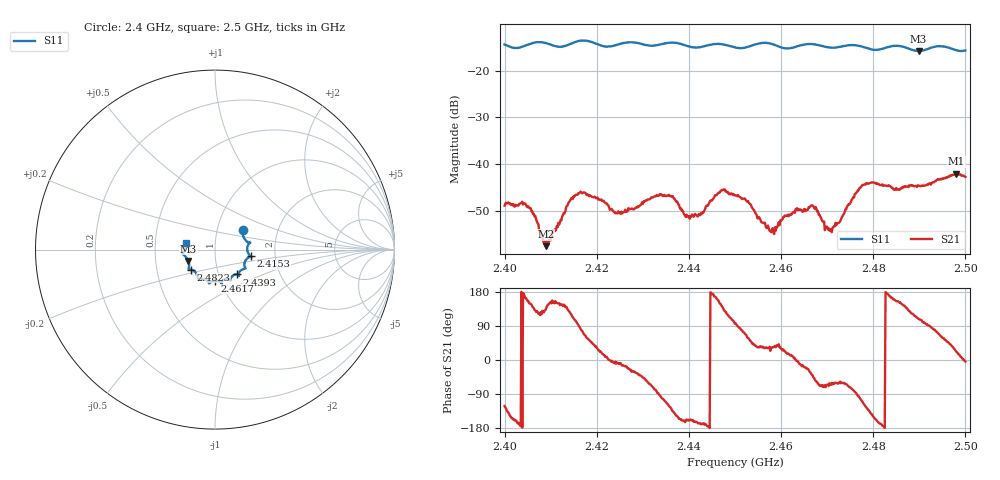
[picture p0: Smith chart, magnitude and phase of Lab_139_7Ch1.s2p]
# Hz S RI R 50
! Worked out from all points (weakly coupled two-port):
!   601 points, 2.4 GHz to 2.5 GHz, reference 50 ohm
!   highest |S21| = -41.98 dB at 2.498 GHz (marker M1); lowest = -57.5 dB at 2.409 GHz (marker M2)
!   lowest |S11| = -15.8 dB at 2.4898 GHz (marker M3), VSWR 1.39, Z = 36.8 - j4.77 ohm
!   |S11| at or under -10 dB: start of sweep to end of sweep
!   S12 and S22 are empty: the file has one direction only
!   S11 on the Smith chart (normalised r, x): 2.4 GHz: 1.33, +0.30; 2.4153 GHz: 1.49, -0.12; 2.4393 GHz: 1.22, -0.35; 2.4617 GHz: 0.94, -0.33; 2.4823 GHz: 0.75, -0.17; 2.5 GHz: 0.72, +0.05
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2.4e9  0.1551 0.109  -0.00189 -0.00308  0 0  0 0
2.405167e9  0.1856 0.04  -0.00324 0.00148  0 0  0 0
2.409e9  0.1927 0.0368  -0.00095 0.000941  0 0  0 0
2.415333e9  0.1983 -0.0376  -0.0012 0.00453  0 0  0 0
2.416667e9  0.2047 -0.042  0.00103 0.00489  0 0  0 0
2.424667e9  0.165 -0.0943  0.0031 -0.000524  0 0  0 0
2.433333e9  0.132 -0.1339  0.000203 -0.00461  0 0  0 0
2.4365e9  0.1343 -0.1465  -0.00323 -0.00322  0 0  0 0
2.439333e9  0.1228 -0.1383  -0.00255 -0.001  0 0  0 0
2.442333e9  0.0942 -0.15  -0.00287 -0.00065  0 0  0 0
2.447333e9  0.0835 -0.1708  -0.00401 0.00346  0 0  0 0
2.45e9  0.066 -0.1638  -0.000467 0.00466  0 0  0 0
2.458e9  0.0375 -0.1886  0.00164 0.00107  0 0  0 0
2.461667e9  0.000459 -0.1722  0.00269 0.000779  0 0  0 0
2.466667e9  -0.0335 -0.1888  0.00283 -0.00229  0 0  0 0
2.470667e9  -0.0528 -0.1676  0.000835 -0.00182  0 0  0 0
2.4775e9  -0.0969 -0.1521  -0.00187 -0.00557  0 0  0 0
2.482333e9  -0.1322 -0.1112  -0.00593 -0.000477  0 0  0 0
2.483333e9  -0.1409 -0.11  -0.00592 0.000848  0 0  0 0
2.489833e9  -0.1486 -0.0632  -0.00187 0.00562  0 0  0 0
2.498e9  -0.1649 0.00321  0.00737 0.00303  0 0  0 0
2.5e9  -0.1599 0.0362  0.00731 -0.000551  0 0  0 0
